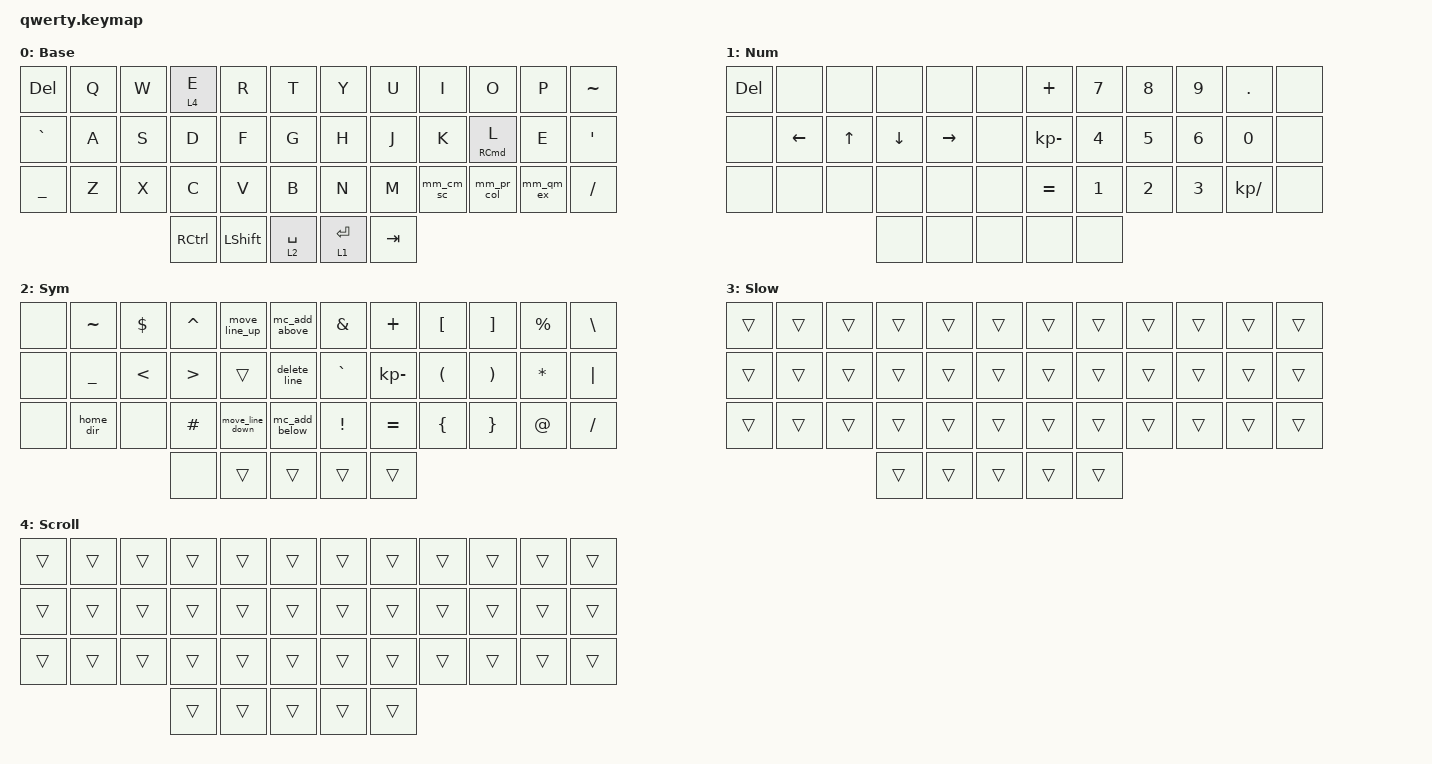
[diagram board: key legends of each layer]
/* upstream bindings and behaviors */
#include <behaviors.dtsi>
#include <dt-bindings/zmk/bt.h>
#include <dt-bindings/zmk/keys.h>
#include <dt-bindings/zmk/mouse.h>
#include <dt-bindings/zmk/outputs.h>
#include <behaviors/mouse_keys.dtsi>
#include <dt-bindings/zmk/ext_power.h>

/* local overlays */
#include "macros.dtsi"
#include "behaviors.dtsi"
#include "combos.dtsi"

/ {
/* --- KEYMAP CONFIG --- */
// ╭──────┬──────┬──────┬──────┬──────┬──────╮  ╭──────┬──────┬──────┬──────┬──────┬──────╮
//    00     01     02     03    04      05        06     07     08     09     10     11
// ├──────┼──────┼──────┼──────┼──────┼──────┤  ├──────┼──────┼──────┼──────┼──────┼──────┤
//    12     13     14     15    16      17        18     19     20     21     22     23
// ├──────┼──────┼──────┼──────┼──────┼──────┤  ├──────┼──────┼──────┼──────┼──────┼──────┤
//    24     25     26     27    28      29        30     31     32     33     34     35
// ╰──────┴──────┴──────┼──────┼──────┼──────┤  ├──────┼──────┼──────┴──────┴──────┴──────╯
//                         36     37     38        39     40
//                      ╰──────┴──────┴──────╯  ╰──────┴──────╯
// #define BASE    0
// #define NUM     1
// #define SYM     2
// #define SLOW    3
// #define SCROLL  4

    keymap {
        compatible = "zmk,keymap";
        BASE {
            display-name = "Base";
            bindings = <
// ╭───────────────┬────────────────┬────────────────┬─────────────────┬─────────────────┬──────╮      ╭──────┬──────────────────┬──────────────────┬─────────────────┬────────────────────────┬─────────────╮
    &kp DEL         &kp Q            &kp W            &lt 4 E           &kp R             &kp T        &kp Y      &kp U              &kp I              &kp O             &kp P                   &kp TILDE
// ├───────────────┼────────────────┼────────────────┼─────────────────┼─────────────────┼──────┤      ├──────┼──────────────────┼──────────────────┼─────────────────┼────────────────────────┼─────────────┤
    &kp GRAVE       &kp A            &kp S            &kp D             &kp F             &kp G        &kp H      &kp J              &kp K              &ht_right RCMD L  &kp E                   &kp APOS
// ├───────────────┼────────────────┼────────────────┼─────────────────┼─────────────────┼──────┤      ├──────┼──────────────────┼──────────────────┼─────────────────┼────────────────────────┼─────────────┤
    &kp UNDER       &kp Z            &kp X            &kp C             &kp V             &kp B        &kp N      &kp M              &mm_cm_sc          &mm_pr_col        &mm_qm_ex               &kp FSLH
// ╰───────────────┴────────────────┴────────────────┼─────────────────┼─────────────────┼──────┤      ├──────┼──────────────────┼──────────────────┴─────────────────┴────────────────────────┴─────────────╯
                                                      &kp RCTRL         &kp LEFT_SHIFT   &lt 2 SPACE   &lt 1 RET  &kp TAB
                                                        
            >;
        };

        NUM {
            display-name = "Num";
            bindings = <
&kp DEL  &none     &none    &none     &none      &none      &kp PLUS       &kp N7      &kp N8      &kp N9      &kp DOT       &none
&none    &kp LEFT  &kp UP   &kp DOWN  &kp RIGHT  &none      &kp KP_MINUS   &kp N4      &kp N5      &kp N6      &kp N0        &none
&none    &none     &none    &none     &none      &none      &kp EQUAL      &kp N1      &kp N2      &kp N3      &kp KP_SLASH  &none
                            &none     &none      &none      &none          &none
            >;
        };

        SYM {
            display-name = "Sym";
            bindings = <
&none  &kp TILDE  &kp DLLR  &kp CARET  &move_line_up    &mc_add_above      &kp AMPS   &kp PLUS     &kp LBKT  &kp RBKT  &kp PRCNT  &kp BSLH
&none  &kp UNDER  &kp LT    &kp GT     &trans           &delete_line       &kp GRAVE  &kp KP_MINUS &kp LPAR  &kp RPAR  &kp ASTRK  &kp PIPE
&none  &home_dir  &none     &kp HASH   &move_line_down  &mc_add_below      &kp EXCLAMATION  &kp EQUAL    &kp LBRC  &kp RBRC  &kp AT     &kp FSLH
                                       &none  &trans    &trans             &trans   &trans
            >;
        };

        SLOW {
            display-name = "Slow";
            bindings = <
&trans    &trans    &trans    &trans    &trans    &trans    &trans    &trans    &trans    &trans    &trans    &trans
&trans    &trans    &trans    &trans    &trans    &trans    &trans    &trans    &trans    &trans    &trans    &trans
&trans    &trans    &trans    &trans    &trans    &trans    &trans    &trans    &trans    &trans    &trans    &trans
                              &trans    &trans    &trans    &trans    &trans
            >;
        };

        SCROLL {
            display-name = "Scroll";
            bindings = <
&trans    &trans    &trans    &trans    &trans    &trans    &trans    &trans    &trans    &trans    &trans    &trans
&trans    &trans    &trans    &trans    &trans    &trans    &trans    &trans    &trans    &trans    &trans    &trans
&trans    &trans    &trans    &trans    &trans    &trans    &trans    &trans    &trans    &trans    &trans    &trans
                              &trans    &trans    &trans    &trans    &trans
            >;
        };
    };
};




